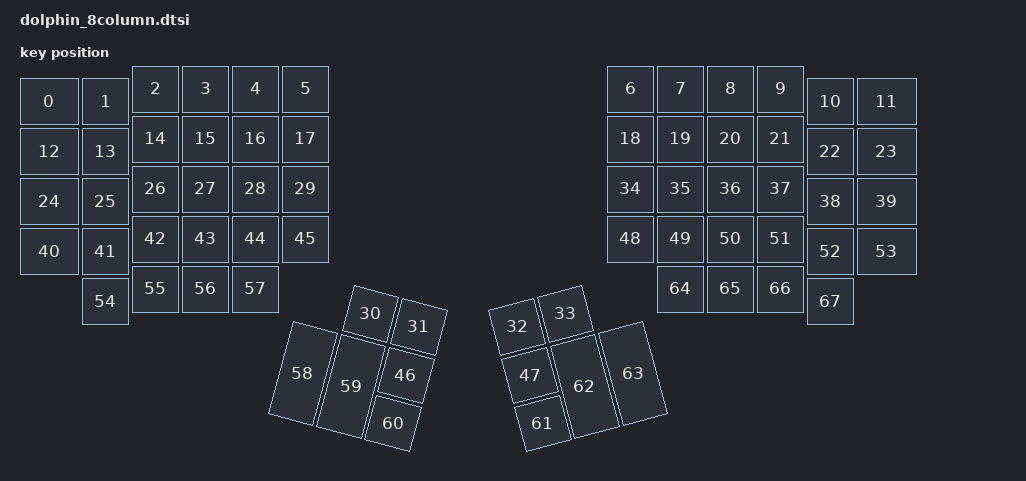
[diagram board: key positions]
/ {
    key_physical_attrs: key_physical_attrs {
        //compatible = "zmk,physical-layout-key";
        #key-cells = <7>;
    };
    foostan_dolphin_8col_layout: foostan_dolphin_8col_layout {
        compatible = "zmk,physical-layout";
        display-name = "Dolphin 8-Column";
        keys //                     w   h    x    y       rot    rx    ry
            = <&key_physical_attrs 125 100    0   25       0     0     0> //EQUAL RC(0,0)
            , <&key_physical_attrs 100 100  125   25       0     0     0> //1 RC(0.1)
            , <&key_physical_attrs 100 100  225    0       0     0     0> //2 RC(0,2)
            , <&key_physical_attrs 100 100  325    0       0     0     0> //3 RC(0,3)
            , <&key_physical_attrs 100 100  425    0       0     0     0> //4 RC(0,4)
            , <&key_physical_attrs 100 100  525    0       0     0     0> //5 RC(0,5)
            , <&key_physical_attrs 100 100 1175    0       0     0     0> //6 RC(0,10)
            , <&key_physical_attrs 100 100 1275    0       0     0     0> //7 RC(0,11)
            , <&key_physical_attrs 100 100 1375    0       0     0     0> //8 RC(0,12)
            , <&key_physical_attrs 100 100 1475    0       0     0     0> //9 RC(0,13)
            , <&key_physical_attrs 100 100 1575   25       0     0     0> //0 RC(0,14)
            , <&key_physical_attrs 125 100 1675   25       0     0     0> //MINUS RC(0,15)
            , <&key_physical_attrs 125 100    0  125       0     0     0> //TAB RC(1,0)
            , <&key_physical_attrs 100 100  125  125       0     0     0> //Q RC(1,1)
            , <&key_physical_attrs 100 100  225  100       0     0     0> //W RC(1,2)
            , <&key_physical_attrs 100 100  325  100       0     0     0> //E RC(1,3)
            , <&key_physical_attrs 100 100  425  100       0     0     0> //R RC(1,4)
            , <&key_physical_attrs 100 100  525  100       0     0     0> //T RC(1,5)
            , <&key_physical_attrs 100 100 1175  100       0     0     0> //Y RC(1,10)
            , <&key_physical_attrs 100 100 1275  100       0     0     0> //U RC(1,11)
            , <&key_physical_attrs 100 100 1375  100       0     0     0> //I RC(1,12)
            , <&key_physical_attrs 100 100 1475  100       0     0     0> //O RC(1,13)
            , <&key_physical_attrs 100 100 1575  125       0     0     0> //P RC(1,14)
            , <&key_physical_attrs 125 100 1675  125       0     0     0> //BLSH RC(1,15)
            , <&key_physical_attrs 125 100    0  225       0     0     0> //CAP RC(2,0)
            , <&key_physical_attrs 100 100  125  225       0     0     0> //A RC(2,1)
            , <&key_physical_attrs 100 100  225  200       0     0     0> //S RC(2,2)
            , <&key_physical_attrs 100 100  325  200       0     0     0> //D RC(2,3)
            , <&key_physical_attrs 100 100  425  200       0     0     0> //F RC(2,4)
            , <&key_physical_attrs 100 100  525  200       0     0     0> //G RC(2,5)
            , <&key_physical_attrs 100 100  675  400    1500   525   400> //LGUI RC(2,6)
            , <&key_physical_attrs 100 100  775  400    1500   525   400> //ESC RC(2,7)
            , <&key_physical_attrs 100 100  925  400 (-1500)  1275   400> //RCTRL RC(2,8)
            , <&key_physical_attrs 100 100 1025  400 (-1500)  1275   400> //RALT RC(2,9)
            , <&key_physical_attrs 100 100 1175  200       0     0     0> //H RC(2,10)
            , <&key_physical_attrs 100 100 1275  200       0     0     0> //J RC(2,11)
            , <&key_physical_attrs 100 100 1375  200       0     0     0> //K RC(2,12)
            , <&key_physical_attrs 100 100 1475  200       0     0     0> //L RC(2,13)
            , <&key_physical_attrs 100 100 1575  225       0     0     0> //SEMI RC(2,14)
            , <&key_physical_attrs 125 100 1675  225       0     0     0> //SQT RC(2,15)
            , <&key_physical_attrs 125 100    0  325       0     0     0> //LSHFT RC(3,0)
            , <&key_physical_attrs 100 100  125  325       0     0     0> //Z RC(3,1)
            , <&key_physical_attrs 100 100  225  300       0     0     0> //X RC(3,2)
            , <&key_physical_attrs 100 100  325  300       0     0     0> //C RC(3,3)
            , <&key_physical_attrs 100 100  425  300       0     0     0> //V RC(3,4)
            , <&key_physical_attrs 100 100  525  300       0     0     0> //B RC(3,5)
            , <&key_physical_attrs 100 100  775  500    1500   525   400> //HOME RC(3,7)
            , <&key_physical_attrs 100 100  925  500 (-1500)  1275   400> //PG_UP RC(3,8)
            , <&key_physical_attrs 100 100 1175  300       0     0     0> //N RC(3,10)
            , <&key_physical_attrs 100 100 1275  300       0     0     0> //M RC(3,11)
            , <&key_physical_attrs 100 100 1375  300       0     0     0> //COMMA RC(3,12)
            , <&key_physical_attrs 100 100 1475  300       0     0     0> //DOT RC(3,13)
            , <&key_physical_attrs 100 100 1575  325       0     0     0> //FLSH RC(3,14)
            , <&key_physical_attrs 125 100 1675  325       0     0     0> //RSHFT RC(3,15)
            , <&key_physical_attrs 100 100  125  425       0     0     0> //GRAVE RC(4,1)
            , <&key_physical_attrs 100 100  225  400       0     0     0> //mo1 RC(4,2)
            , <&key_physical_attrs 100 100  325  400       0     0     0> //LEFT RC(4,3)
            , <&key_physical_attrs 100 100  425  400       0     0     0> //RIGHT RC(4,4)
            , <&key_physical_attrs 100 200  575  500    1500   525   400> //BSPC RC(4,5)
            , <&key_physical_attrs 100 200  675  500    1500   525   400> //DEL RC(4,6)
            , <&key_physical_attrs 100 100  775  600    1500   525   400> //END RC(4,7)
            , <&key_physical_attrs 100 100  925  600 (-1500)  1275   400> //PG_DN RC(4,8)
            , <&key_physical_attrs 100 200 1025  500 (-1500)  1275   400> //ENTER RC(4,9)
            , <&key_physical_attrs 100 200 1125  500 (-1500)  1275   400> //SPACE RC(4,10)
            , <&key_physical_attrs 100 100 1275  400       0     0     0> //UP RC(4,11)
            , <&key_physical_attrs 100 100 1375  400       0     0     0> //DOWN RC(4,12)
            , <&key_physical_attrs 100 100 1475  400       0     0     0> //LBKT RC(4,13)
            , <&key_physical_attrs 100 100 1575  425       0     0     0> //RBKT RC(4,14)
            ;
    };
};
